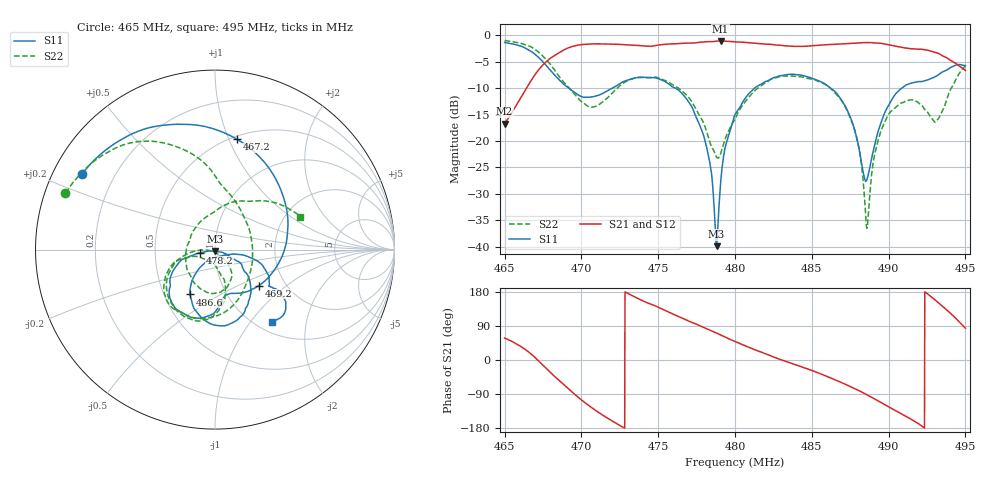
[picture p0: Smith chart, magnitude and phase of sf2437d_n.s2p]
!Agilent Technologies,E5071C,MY46104547,A.08.12
!Date: Wed May 17 14:13:47 2017
!Data & Calibration Information:
!Freq	S11:SOLT2(ON)	S21:SOLT2(ON)	S12:SOLT2(ON)	S22:SOLT2(ON)
# Hz S dB R 50
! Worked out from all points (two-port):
!   1601 points, 465 MHz to 495 MHz, reference 50 ohm
!   highest |S21| = -1.08 dB at 479.1 MHz (marker M1); lowest = -16.7 dB at 465 MHz (marker M2)
!   |S21| within 3 dB of the highest: 468.1 MHz to 493.6 MHz (25.52 MHz wide, 5.31 % of centre)
!   lowest |S11| = -39.9 dB at 478.8 MHz (marker M3), VSWR 1.02, Z = 49.9 - j1.01 ohm
!   |S11| at or under -10 dB: 469.2 MHz to 472 MHz (2.868 MHz wide, 0.609 % of centre); 476.1 MHz to 481.3 MHz (5.175 MHz wide, 1.08 % of centre); 486.2 MHz to 490.9 MHz (4.65 MHz wide, 0.952 % of centre)
!   |S22| runs from -36.5 to -1.0 dB; largest |S21 - S12| = 0.0015
!   S11 on the Smith chart (normalised r, x): 465 MHz: 0.08, +0.26; 467.2 MHz: 0.53, +1.07; 469.2 MHz: 1.47, -0.66; 478.2 MHz: 0.85, -0.03; 486.6 MHz: 0.67, -0.37; 495 MHz: 1.17, -1.29
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4.65e8  -1.38 150.5  -16.75 58.1  -16.73 58.0  -1.01 159.3
4.671562e8  -4.06 78.7  -6.78 -0.2  -6.79 -0.4  -3.07 120.7
4.68075e8  -6.95 26.1  -4.18 -36.6  -4.20 -36.6  -5.87 99.3
4.691625e8  -10.00 -39.3  -2.39 -76.2  -2.40 -76.2  -9.82 75.9
4.700062e8  -11.62 -68.1  -1.80 -105.5  -1.81 -105.4  -12.58 43.3
4.721625e8  -9.79 -87.0  -1.69 -164.9  -1.69 -164.9  -10.48 -62.6
4.750125e8  -8.24 -126.9  -1.87 139.1  -1.87 139.1  -8.08 -131.7
4.77e8  -12.69 -157.3  -1.49 102.5  -1.49 102.5  -11.82 -160.1
4.781812e8  -21.55 -168.3  -1.24 81.9  -1.24 81.9  -18.46 -161.7
4.788e8  -39.87 -92.7  -1.14 71.0  -1.14 71.0  -23.05 -126.6
4.790625e8  -27.95 -21.3  -1.08 65.8  -1.09 65.8  -22.44 -98.7
4.8e8  -15.02 -31.6  -1.29 48.8  -1.29 48.8  -15.92 -74.9
4.823812e8  -8.21 -65.5  -1.76 10.0  -1.77 10.0  -8.28 -94.3
4.850062e8  -8.14 -99.8  -2.01 -27.6  -2.01 -27.6  -8.31 -129.7
4.865812e8  -10.87 -119.2  -1.73 -53.4  -1.73 -53.4  -11.12 -154.5
4.878938e8  -19.04 -129.0  -1.51 -77.3  -1.52 -77.3  -19.10 -175.9
4.885875e8  -27.32 -61.0  -1.41 -91.7  -1.41 -91.7  -36.51 -113.8
4.891312e8  -20.32 -15.1  -1.48 -103.7  -1.48 -103.7  -22.07 -46.8
4.900125e8  -13.20 -13.5  -1.82 -123.8  -1.82 -123.8  -14.90 -59.1
4.925812e8  -8.40 -33.4  -2.89 172.9  -2.90 172.8  -14.81 -151.2
4.939125e8  -6.36 -35.8  -4.52 127.1  -4.53 127.1  -11.09 70.7
4.95e8  -5.76 -51.8  -6.65 83.8  -6.65 83.8  -5.85 21.0
